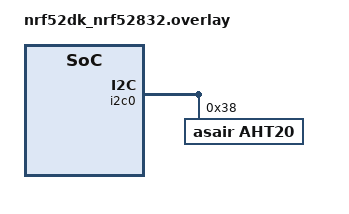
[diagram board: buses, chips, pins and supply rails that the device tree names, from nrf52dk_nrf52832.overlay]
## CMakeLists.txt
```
cmake_minimum_required(VERSION 3.20.0)
find_package(Zephyr REQUIRED HINTS $ENV{ZEPHYR_BASE})

project(newAht20)

target_sources(app PRIVATE src/main.c)
```

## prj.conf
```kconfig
CONFIG_GPIO=y
CONFIG_I2C=y

CONFIG_CBPRINTF_FP_A_SUPPORT=y
CONFIG_SENSOR=y
```

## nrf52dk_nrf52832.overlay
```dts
// To get started, press Ctrl+Space to bring up the completion menu and view the available nodes.

// You can also use the buttons in the sidebar to perform actions on nodes.
// Actions currently available include:

// * Enabling / disabling the node
// * Adding the bus to a bus
// * Removing the node
// * Connecting ADC channels

// For more help, browse the DeviceTree documentation at https://docs.zephyrproject.org/latest/guides/dts/index.html
// You can also visit the nRF DeviceTree extension documentation at https://nrfconnect.github.io/vscode-nrf-connect/devicetree/nrfdevicetree.html
&i2c0 {
    aht20@38{
        compatible = "asair,aht20";
        reg = <0x38>;
        label = "aht20";
    };
};
```

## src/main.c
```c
#include <zephyr/kernel.h>
#include <zephyr/device.h>
#include <zephyr/devicetree.h>
#include <zephyr/drivers/i2c.h>
#include <zephyr/drivers/sensor.h>

const struct device *aht20_dev = DEVICE_DT_GET_ANY(asair_aht20__decoder_api);
static struct sensor_value temp;

int main(void)
{
    printk("now start aht20 i2c\r\n");
    if(!(device_is_ready(aht20_dev))){
        printk("aht20_dev is not ready\r\n");
        return;
    }

    while(1){
        static uint32_t mainCount = 0;
        printf("main: %d\r\n", mainCount++);
        k_msleep(1000);
    }
    return 0;
}
```
